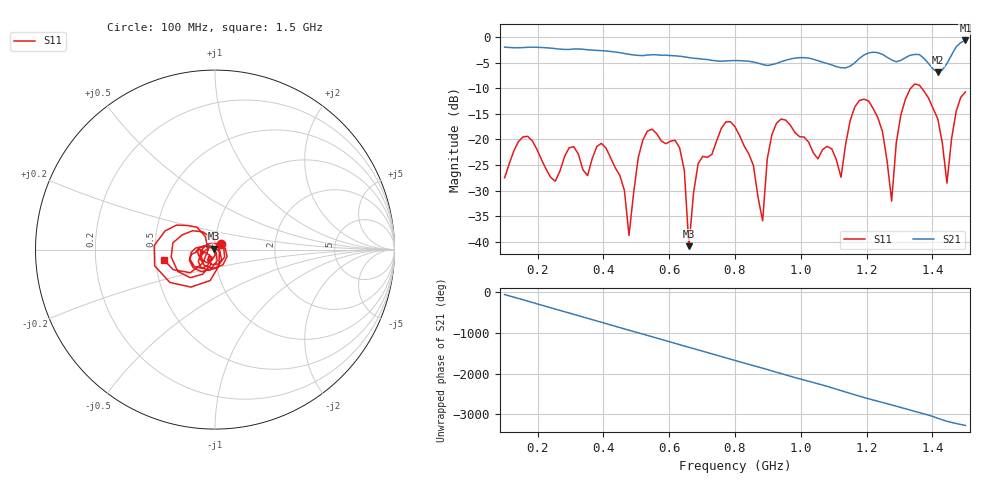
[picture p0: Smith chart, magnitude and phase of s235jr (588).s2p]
! NanoVNA-App
! Date: 2025-09-25 15:08:44
! Start: 100MHz Stop: 1,5GHz Points: 101
! S-Parameter data: F S11 S21 S12 S22
# Hz S RI R 50
!  Frequency  S11_Real  S11_Imag  S21_Real  S21_Imag  S12_Real  S12_Imag  S22_Real  S22_Imag
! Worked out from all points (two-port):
!   101 points, 100 MHz to 1.5 GHz, reference 50 ohm
!   highest |S21| = -0.67 dB at 1.5 GHz (marker M1); lowest = -6.9 dB at 1.416 GHz (marker M2)
!   |S21| within 3 dB of the highest: start of sweep to 617.4 MHz; 1.189 GHz to 1.255 GHz (66.54 MHz wide, 5.45 % of centre) (the widest 2 of 4)
!   lowest |S11| = -40.8 dB at 660 MHz (marker M3), VSWR 1.02, Z = 49.3 + j0.54 ohm
!   |S11| at or under -10 dB: start of sweep to 1.334 GHz; 1.367 GHz to end of sweep
!   S12 and S22 are empty: the file has one direction only
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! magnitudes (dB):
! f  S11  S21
! 100 MHz  -27.5  -2.0
! 170 MHz  -19.4  -2.0
! 338 MHz  -25.9  -2.4
! 408 MHz  -21.7  -2.7
! 478 MHz  -38.7  -3.4
! 520 MHz  -20.1  -3.6
! 576 MHz  -20.3  -3.5
! 632 MHz  -21.7  -3.7
! 660 MHz  -40.8  -4.0
! 688 MHz  -24.7  -4.2
! 800 MHz  -17.5  -4.6
! 884 MHz  -35.9  -5.4
! 926 MHz  -16.8  -5.2
! 1.038 GHz  -22.6  -4.3
! 1.122 GHz  -27.4  -6.0
! 1.164 GHz  -13.6  -5.0
! 1.206 GHz  -12.5  -3.1
! 1.276 GHz  -32.0  -4.5
! 1.332 GHz  -10.1  -3.6
! 1.416 GHz  -15.9  -6.9
! 1.444 GHz  -28.5  -5.2
! 1.5 GHz  -10.7  -0.7
